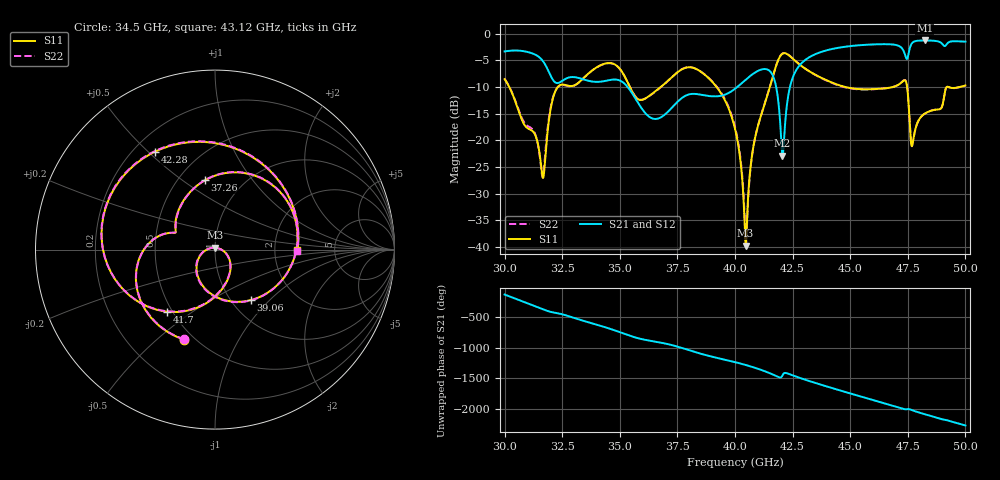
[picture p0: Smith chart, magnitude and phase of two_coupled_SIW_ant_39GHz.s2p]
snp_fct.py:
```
#!/usr/bin/env python3
# -*- coding: utf-8 -*-
"""
Created on Sat Oct 28 10:42:44 2017

@author: dingnie
"""

import numpy as np
import numpy.linalg
import skrf as rf

def get_z0(snp_file):
    # Input: file name
    # Output: nxl z0
    n = int(snp_file[-2])
    if '.s' + str(n) + 'p' not in snp_file:
        raise RuntimeError('Error: input file is not snp touchstone file')
    z0 = [[] for i in range(n)]
    with open(snp_file) as f:
        for l in f:
            if '! Port Impedance' in l:
                z0_str = list(filter(None, l[len('! Port Impedance'):].split(' ')))
                for i in range(n):
                    z0[i].append(float(z0_str[2*i]) + 1j*float(z0_str[2*i+1]))
    z0 = np.array(z0)
    if n == 1:
        z0 = z0.reshape(len(z0[0]))
    return np.array(z0)


def s2z(s, z0):
    if s.ndim == 1:  # one port
        z = z0 * (1+s) / (1-s)
    elif s.ndim == 3:
        n = s.shape[0]
        l = s.shape[2]
        z = np.zeros(s.shape, dtype=s.dtype)
        for i in range(l):
            z0_sq = np.matrix(np.diag(np.sqrt(z0[:, i])))
            s_ele = s[:, :, i]
            z[:, :, i] = z0_sq * np.matrix(numpy.identity(n)+s_ele) * np.linalg.inv(np.matrix(numpy.identity(n)-s_ele)) * z0_sq
    else:
        raise RuntimeError('Error: unexpected S-parameter format')
    return z


def read_snp(snp_file):
    ant_data = rf.Network(snp_file)
    z0 = get_z0(snp_file)
    n = ant_data.number_of_ports
    freq = ant_data.f
    l = len(freq)
    if n == 1:
        s = ant_data.s.reshape(l)
    else:
        s = np.zeros([n, n, l], dtype=np.complex128)
        for i in range(l):
            s[:, :, i] = ant_data.s[i, :, :]
    z = s2z(s, z0)
    return freq, n, z, s, z0

if __name__ == '__main__':
    s2p_file = 'two_coupled_SIW_ant_39GHz.s2p'
    freq, n, z, s, z0 = read_snp(s2p_file)
    # print(freq, n, z, s, z0)
```
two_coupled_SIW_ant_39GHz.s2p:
! Touchstone file from project two_antenna_SIW_mirror_39GHz
! Exported from HFSS 2017.0.0
! Variables:
!  $D1 = 2.13371266002845mm
!  $Disk_shift = -0.15647226173542mm
!  $G1 = 0.245193885882145mm
!  $G2 = 0.612984714705363mm
!  $S0 = 15mil
!  $S1 = 10mil
!  $S2 = 4.9038777176429mm
!  $SL = 1.47116330014225mm
!  $SW = 0.588465326117148mm
!  $VL = 1.83895414411609mm
!  $VW = 0.622792470140648mm
!  $W = 3.42712690890829mm
!  $W1 = 3.42712690890829mm
!  $length = 24.5193885882145mm
!  $offset = 1.48648648648649mm
!  $patch_step = 3.37141591572887mm
!  $slot_side = 0.668563300142248mm
!  $slot_step = 1.90025261558662mm
!  $substrate_edge = 1.71635720117502mm
!  $width = 7.11237553342817mm
!  leak_gap = 7mm
!Data is not renormalized
# GHZ S MA
! Modal data exported
! Port[1] = 1:1
! Port[2] = 2:1
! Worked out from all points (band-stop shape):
!   1001 points, 30 GHz to 50 GHz, reference per port
!   highest |S21| = -1.28 dB at 48.24 GHz (marker M1); lowest = -22.8 dB at 42.06 GHz (marker M2)
!   |S21| within 3 dB of the highest: 43.28 GHz to 47.41 GHz (4.123 GHz wide, 9.09 % of centre); 47.51 GHz to end of sweep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
!   lowest |S11| = -39.7 dB at 40.46 GHz (marker M3), VSWR 1.02
!   |S11| at or under -10 dB: 30.2 GHz to 32.31 GHz (2.107 GHz wide, 6.74 % of centre); 39.2 GHz to 41.51 GHz (2.311 GHz wide, 5.73 % of centre); 44.79 GHz to 46.86 GHz (2.069 GHz wide, 4.51 % of centre)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
!   |S22| runs from -39.8 to -3.6 dB; largest |S21 - S12| = 8.1e-13
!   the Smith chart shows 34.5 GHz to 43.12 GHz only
!   S11 on the Smith chart (normalised r, x): 34.5 GHz: 0.44, -0.62; 37.26 GHz: 0.67, +0.61; 39.06 GHz: 1.22, -0.78; 41.7 GHz: 0.47, -0.40; 42.28 GHz: 0.28, +0.52; 43.12 GHz: 2.69, -0.03
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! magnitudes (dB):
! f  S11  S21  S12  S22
! 30 GHz  -8.5  -3.3  -3.3  -8.5
! 34.5 GHz  -5.5  -8.8  -8.8  -5.5
! 37.26 GHz  -8.2  -13.9  -13.9  -8.2
! 39.06 GHz  -9.3  -11.7  -11.7  -9.2
! 40 GHz  -17.8  -10.3  -10.3  -17.5
! 40.46 GHz  -39.7  -8.7  -8.7  -39.1
! 41.7 GHz  -7.2  -8.5  -8.5  -7.2
! 42.06 GHz  -3.8  -22.8  -22.8  -3.7
! 42.28 GHz  -3.9  -12.5  -12.5  -3.8
! 43.12 GHz  -6.8  -4.7  -4.7  -6.8
! 48.24 GHz  -15.0  -1.3  -1.3  -15.0
! 50 GHz  -9.7  -1.5  -1.5  -9.8
